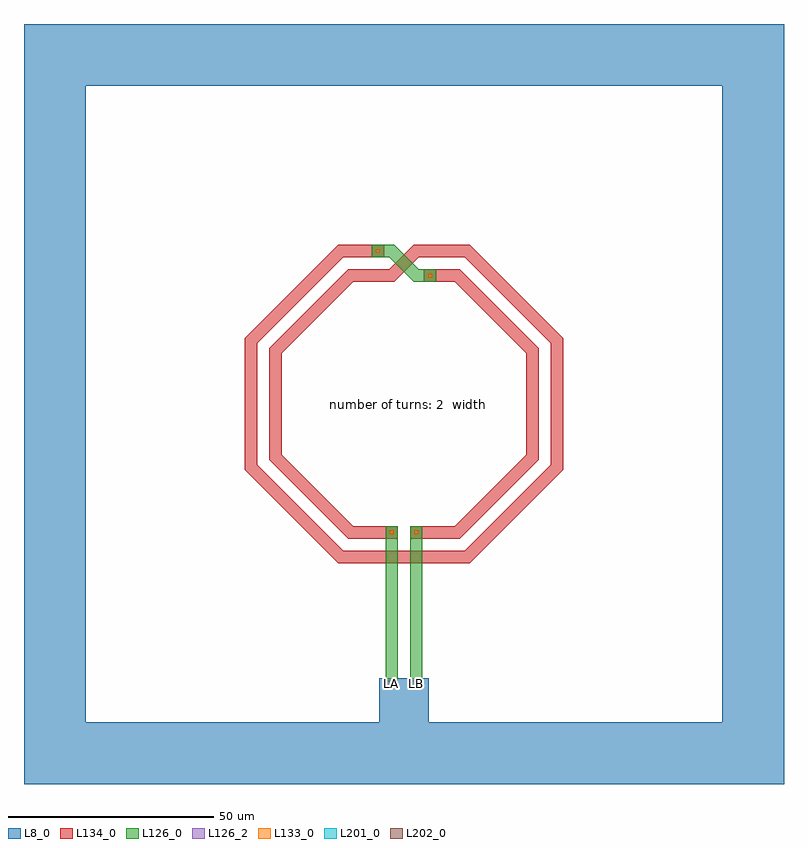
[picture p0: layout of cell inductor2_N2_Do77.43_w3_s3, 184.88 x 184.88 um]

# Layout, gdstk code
import gdstk
lib = gdstk.Library(unit=1e-6, precision=1e-09)
def R(c, l, rs):  # rectangles x0, y0, x1, y1
    for r in rs: c.add(gdstk.rectangle(r[:2], r[2:], *l))
def P(c, l, *ps):  # polygons
    for p in ps: c.add(gdstk.Polygon(p, *l))
L8_0 = (8, 0)
L126_0 = (126, 0)
L126_2 = (126, 2)
L133_0 = (133, 0)
L134_0 = (134, 0)
L201_0 = (201, 0)
L202_0 = (202, 0)

inductor2_n2_do77_43_w3_ = lib.new_cell('inductor2_N2_Do77.43_w3_s3')
R(inductor2_n2_do77_43_w3_, L8_0, [(-92.44,-92.44,-77.44,92.44), (-77.44,-92.44,77.44,-77.44), (77.44,-92.44,92.44,92.44), (-6,-77.44,6,-66.72), (-77.44,77.44,77.44,92.44)])
R(inductor2_n2_do77_43_w3_, L126_0, [(-4.5,-68.72,-1.5,-29.72), (1.5,-68.72,4.5,-29.72)])
P(inductor2_n2_do77_43_w3_, L126_0, [(-7.86,38.72),(-7.86,35.72),(-3.621,35.72),(2.379,29.72),(7.86,29.72),(7.86,32.72),(3.621,32.72),(-2.379,38.72)])
R(inductor2_n2_do77_43_w3_, L126_2, [(-4.5,-68.72,-1.5,-67.22), (1.5,-68.72,4.5,-67.22)])
R(inductor2_n2_do77_43_w3_, L133_0, [(-3.45,-31.67,-2.55,-30.77), (2.55,-31.67,3.45,-30.77), (5.92,30.77,6.82,31.67), (-6.82,36.77,-5.92,37.67)])
R(inductor2_n2_do77_43_w3_, L134_0, [(-7.865,-38.72,7.865,-35.72)])
P(inductor2_n2_do77_43_w3_, L134_0, [(-4.86,-38.72),(-4.86,-35.72),(-14.799,-35.72),(-35.72,-14.799),(-35.72,3),(-38.72,3),(-38.72,-16.041),(-16.041,-38.72)],
  [(-4.86,35.72),(-4.86,38.72),(-16.041,38.72),(-38.72,16.041),(-38.72,-3),(-35.72,-3),(-35.72,14.799),(-14.799,35.72)],
  [(4.86,-35.72),(4.86,-38.72),(16.041,-38.72),(38.72,-16.041),(38.72,3),(35.72,3),(35.72,-14.799),(14.799,-35.72)],
  [(4.86,38.72),(4.86,35.72),(14.799,35.72),(35.72,14.799),(35.72,-3),(38.72,-3),(38.72,16.041),(16.041,38.72)],
  [(-1.5,-32.72),(-1.5,-29.72),(-12.309,-29.72),(-29.72,-12.309),(-29.72,3),(-32.72,3),(-32.72,-13.551),(-13.551,-32.72)],
  [(-4.86,29.72),(-4.86,32.72),(-13.551,32.72),(-32.72,13.551),(-32.72,-3),(-29.72,-3),(-29.72,12.309),(-12.309,29.72)],
  [(1.5,-29.72),(1.5,-32.72),(13.551,-32.72),(32.72,-13.551),(32.72,3),(29.72,3),(29.72,-12.309),(12.309,-29.72)],
  [(4.86,32.72),(4.86,29.72),(12.309,29.72),(29.72,12.309),(29.72,-3),(32.72,-3),(32.72,13.551),(13.551,32.72)],
  [(-7.86,32.72),(-7.86,29.72),(-2.379,29.72),(3.621,35.72),(7.86,35.72),(7.86,38.72),(2.379,38.72),(-3.621,32.72)])
R(inductor2_n2_do77_43_w3_, L201_0, [(-4.5,-68.72,-1.5,-68.62)])
R(inductor2_n2_do77_43_w3_, L202_0, [(1.5,-68.72,4.5,-68.62)])
inductor2_n2_do77_43_w3_.add(gdstk.Label('LA', (-3,-67.97), layer=27, texttype=25))
inductor2_n2_do77_43_w3_.add(gdstk.Label('LB', (3,-67.97), layer=27, texttype=25))
inductor2_n2_do77_43_w3_.add(gdstk.Label('  number of turns: 2\n  width: 3.00\n  spacing: 3.00\n  outer diameter: 77.44\n  inner diameter: 59.44\n', (0,0), layer=63, texttype=0))

lib.write_gds('inductor2_N2_Do77.43_w3_s3.gds')
